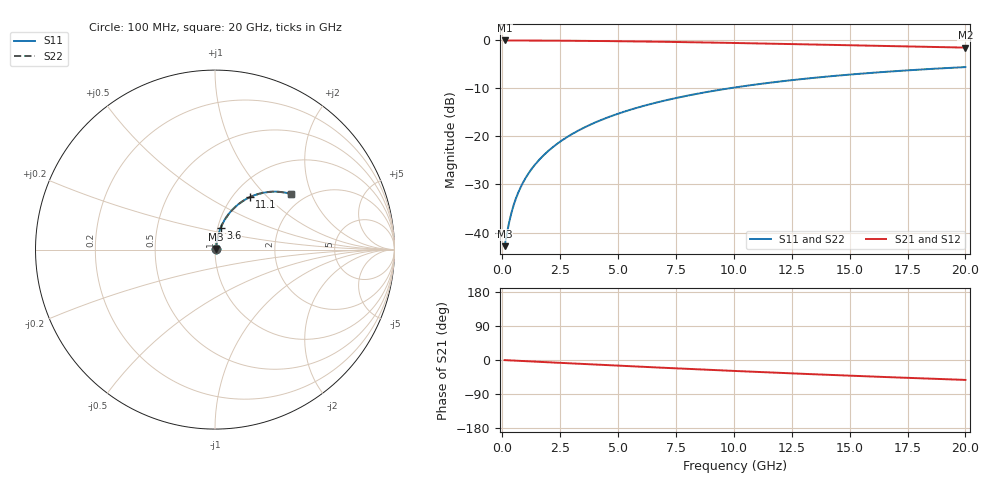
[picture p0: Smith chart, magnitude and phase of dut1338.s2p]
! Touchstone file exported from HFSS 2026.1.0
!  File:  C:/ffzhzh/LocalFiles/Ansys_Project_Files/temp_train_BSMRDL_1338_1783178801_18472.aedt
!  Generated:  11:28:04 PM Jul  4, 2026
!  Design:  BSMRDL
!  Project:  temp_train_BSMRDL_1338_1783178801_18472
! Variables:
!  h_bsmrdl = 2.56um
!  h_ox = 20um
!  h_rdl = 5um
!  h_sub = 80um
!  h_tmrdl = 5um
!  h_tsv = 80um
!  h_via = 3um
!  l_bsmrdl = 749um
!  l_sub = 1149um
!  l_tmrdl = 200um
!  m_sub = 200um
!  pitch = 49.55um
!  r_tsv = 6um
!  s_tmrdl = 10um
!  w_bsmrdl = 17.22um
!  w_sub = 500um
!  w_tmrdl = 12um
!  x_tsv_center1 = 206um
!  x_tsv_center2 = 972.22um
!  x_tsv_center3 = 1184.22um
!  x_tsv_center4 = 1950.44um
!  x_tsv_center5 = 2162.44um
!  x_tsv_center6 = 2928.66um
# GHz S MA R 50.000000
! Terminal data exported
! Port[1] = BSM_RDL1_1_T1
! Port[2] = BSM_RDL1_1_T2
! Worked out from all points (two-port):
!   200 points, 100 MHz to 20 GHz, reference 50 ohm
!   highest |S21| = -0.05 dB at 100 MHz (marker M1); lowest = -1.5 dB at 20 GHz (marker M2)
!   |S21| within 3 dB of the highest: start of sweep to end of sweep
!   lowest |S11| = -42.8 dB at 100 MHz (marker M3), VSWR 1.01, Z = 50.6 + j0.379 ohm
!   |S11| at or under -10 dB: start of sweep to 9.81 GHz
!   |S22| runs from -42.8 to -5.6 dB; largest |S21 - S12| = 2.7e-15
!   S11 on the Smith chart (normalised r, x): 100 MHz: 1.01, +0.01; 3.6 GHz: 1.03, +0.26; 11.1 GHz: 1.19, +0.79; 20 GHz: 1.70, +1.45
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0.1  0.007212 31.3  0.9938 -0.3  0.9938 -0.3  0.007212 31.3
! Gamma 0 0 0 0
! Port Impedance 50 0 50 0
0.3  0.0129 59.3  0.9935 -0.9  0.9935 -0.9  0.0129 59.3
0.4  0.01622 64.9  0.9933 -1.2  0.9933 -1.2  0.01622 64.9
0.5  0.01961 68.4  0.9931 -1.6  0.9931 -1.6  0.01961 68.4
0.6  0.02301 70.7  0.9929 -1.9  0.9929 -1.9  0.02301 70.7
0.8  0.02983 73.7  0.9924 -2.5  0.9924 -2.5  0.02983 73.7
1.1  0.04009 76.0  0.9918 -3.4  0.9918 -3.4  0.04009 76.0
1.3  0.04695 76.8  0.9914 -4.0  0.9914 -4.0  0.04695 76.8
1.6  0.05725 77.5  0.9908 -4.8  0.9908 -4.8  0.05725 77.5
2.1  0.07444 77.6  0.9894 -6.3  0.9894 -6.3  0.07445 77.6
2.7  0.09502 77.0  0.9875 -8.1  0.9875 -8.1  0.09502 77.0
3.5  0.1222 75.6  0.9843 -10.5  0.9843 -10.5  0.1222 75.6
3.6  0.1256 75.4  0.9838 -10.8  0.9838 -10.8  0.1256 75.4
4.3  0.149 73.9  0.9803 -12.8  0.9803 -12.8  0.149 73.9
5  0.172 72.2  0.9763 -14.9  0.9763 -14.9  0.172 72.2
6.8  0.2291 67.6  0.9639 -20.0  0.9639 -20.0  0.2291 67.6
8.3  0.2739 63.7  0.9515 -24.2  0.9515 -24.2  0.2739 63.6
10.1  0.324 59.0  0.9351 -29.1  0.9351 -29.1  0.324 59.0
11.1  0.35 56.5  0.9254 -31.7  0.9254 -31.7  0.35 56.4
13.4  0.4048 50.8  0.9022 -37.5  0.9022 -37.5  0.4048 50.8
16.7  0.4716 43.2  0.8688 -45.3  0.8688 -45.3  0.4716 43.1
20  0.5254 36.1  0.8375 -52.5  0.8375 -52.5  0.5254 36.0
